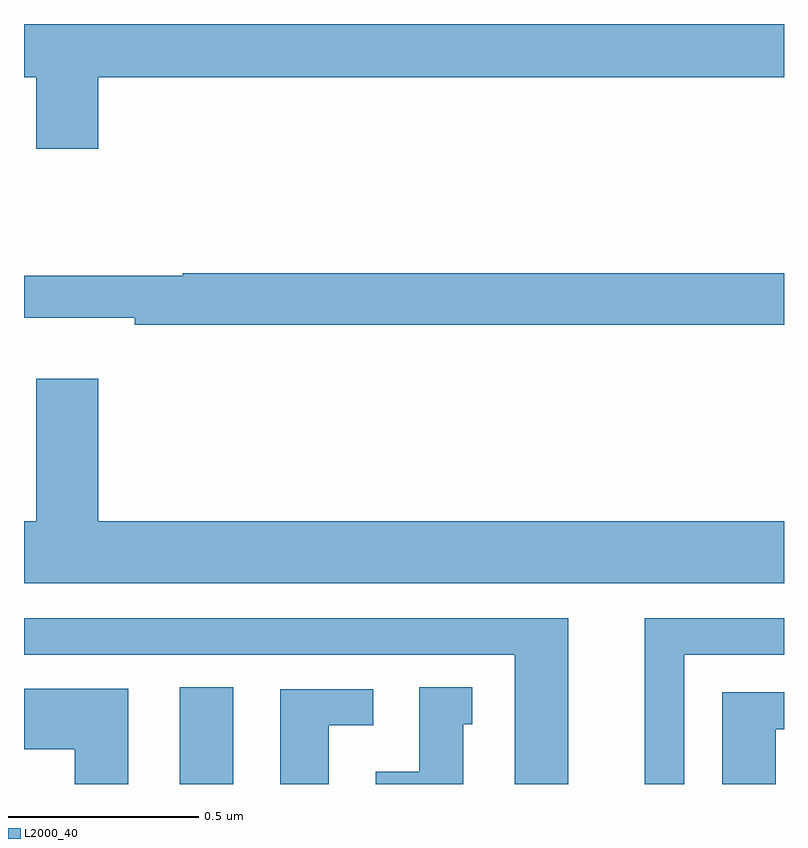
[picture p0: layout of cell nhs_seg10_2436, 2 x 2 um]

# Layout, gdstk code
import gdstk
lib = gdstk.Library(unit=1e-6, precision=1e-09)
def R(c, l, rs):  # rectangles x0, y0, x1, y1
    for r in rs: c.add(gdstk.rectangle(r[:2], r[2:], *l))
def P(c, l, *ps):  # polygons
    for p in ps: c.add(gdstk.Polygon(p, *l))
L2000_40 = (2000, 40)

nhs_seg10_2436 = lib.new_cell('nhs_seg10_2436')
R(nhs_seg10_2436, L2000_40, [(141.41,1254.5,141.55,1254.755)])
P(nhs_seg10_2436, L2000_40, [(141.196,1256.36),(143,1256.36),(143,1256.5),(141,1256.5),(141,1256.36),(141.032,1256.36),(141.032,1256.172),(141.196,1256.172)],
  [(143,1255.844),(141.418,1255.844),(141.418,1255.837),(141,1255.837),(141,1255.727),(141.292,1255.727),(141.292,1255.708),(143,1255.708)],
  [(141.032,1255.567),(141.032,1255.192),(141,1255.192),(141,1255.028),(143,1255.028),(143,1255.192),(141.196,1255.192),(141.196,1255.567)],
  [(142.738,1254.84),(143,1254.84),(143,1254.936),(142.634,1254.936),(142.634,1254.5),(142.738,1254.5)],
  [(142.432,1254.936),(141,1254.936),(141,1254.84),(142.292,1254.84),(142.292,1254.5),(142.432,1254.5)],
  [(142.156,1254.657),(142.18,1254.657),(142.18,1254.755),(142.04,1254.755),(142.04,1254.532),(141.926,1254.532),(141.926,1254.5),(142.156,1254.5)],
  [(141.274,1254.751),(141,1254.751),(141,1254.592),(141.134,1254.592),(141.134,1254.5),(141.274,1254.5)],
  [(141.802,1254.654),(141.919,1254.654),(141.919,1254.75),(141.674,1254.75),(141.674,1254.5),(141.802,1254.5)],
  [(142.978,1254.644),(143,1254.644),(143,1254.741),(142.838,1254.741),(142.838,1254.5),(142.978,1254.5)])

lib.write_gds('nhs_seg10_2436.gds')
